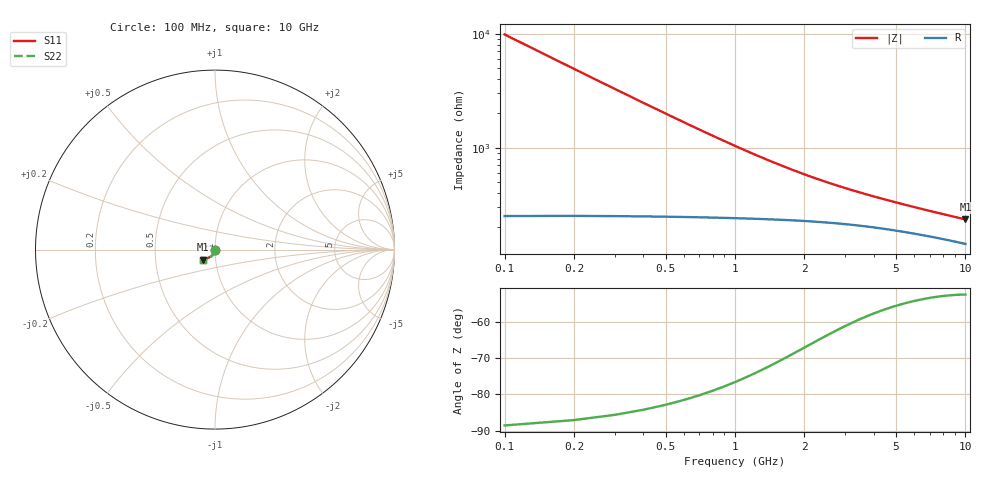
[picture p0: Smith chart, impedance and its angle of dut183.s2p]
! Touchstone file exported from HFSS 2024.1.0
!  File:  C:/UserFiles/LocalFiles/RDL_TSV_Batchsim/temp_TSV1_183_1778756593.aedt
!  Generated:  07:06:20 PM May 14, 2026
!  Design:  TSV1
!  Project:  temp_TSV1_183_1778756593
!  Setup:  Setup1
!  Solution:  Sweep
! Variables:
!  dtsv = 18.67um
!  hbump = 3um
!  htsv = 71.4um
!  lrdl = 252.1521522um
!  p = 40
!  p1 = 45.08um
!  t = 500um
!  trdl = 3um
!  wrdl = 24.89489489um
# GHz S MA R 50.000000
! Terminal data exported
! Port[1] = TSV22_T1
! Port[2] = TSV22_T2
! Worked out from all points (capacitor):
!   100 points, 100 MHz to 10 GHz, reference 50 ohm
!   read as one part in shunt: C = 162 fF near 100 MHz
!   lowest |Z| = 235 ohm at 10 GHz (marker M1)
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0.1  0.0023 -89.8  0.9999 -0.2  0.9999 -0.2  0.0023 -89.8
! Gamma 0 0 0 0
! Port Impedance 50 0 50 0
0.2  0.004624 -92.4  0.9996 -0.3  0.9996 -0.3  0.004624 -92.4
0.3  0.006924 -94.3  0.9993 -0.5  0.9993 -0.5  0.006924 -94.3
0.4  0.009197 -96.1  0.9988 -0.6  0.9988 -0.6  0.009197 -96.1
0.5  0.01144 -97.7  0.9982 -0.8  0.9982 -0.8  0.01144 -97.7
0.6  0.01364 -99.4  0.9975 -0.9  0.9975 -0.9  0.01364 -99.4
0.7  0.01579 -100.9  0.9967 -1.1  0.9967 -1.1  0.01579 -100.9
0.8  0.01789 -102.4  0.9959 -1.2  0.9959 -1.2  0.01789 -102.4
0.9  0.01994 -103.9  0.9949 -1.3  0.9949 -1.3  0.01994 -103.9
1.1  0.02387 -106.7  0.9929 -1.6  0.9929 -1.6  0.02387 -106.7
1.4  0.02928 -110.6  0.9895 -1.9  0.9895 -1.9  0.02928 -110.6
1.6  0.03258 -112.9  0.9872 -2.1  0.9872 -2.1  0.03258 -112.9
1.8  0.03564 -115.0  0.9849 -2.3  0.9849 -2.3  0.03564 -115.0
2.1  0.0398 -117.9  0.9815 -2.5  0.9815 -2.5  0.0398 -117.9
2.5  0.04468 -121.1  0.9771 -2.8  0.9771 -2.8  0.04468 -121.1
2.9  0.0489 -123.8  0.9731 -3.0  0.9731 -3.0  0.0489 -123.8
3.4  0.05349 -126.6  0.9686 -3.3  0.9686 -3.3  0.05349 -126.6
4.2  0.05965 -129.9  0.9624 -3.6  0.9624 -3.6  0.05965 -129.9
5.1  0.06542 -132.6  0.9566 -4.0  0.9566 -4.0  0.06542 -132.6
6.7  0.07373 -135.8  0.9483 -4.6  0.9483 -4.6  0.07373 -135.8
8.4  0.0808 -138.1  0.9415 -5.1  0.9415 -5.1  0.0808 -138.1
10  0.08634 -139.5  0.9364 -5.6  0.9364 -5.6  0.08634 -139.5
